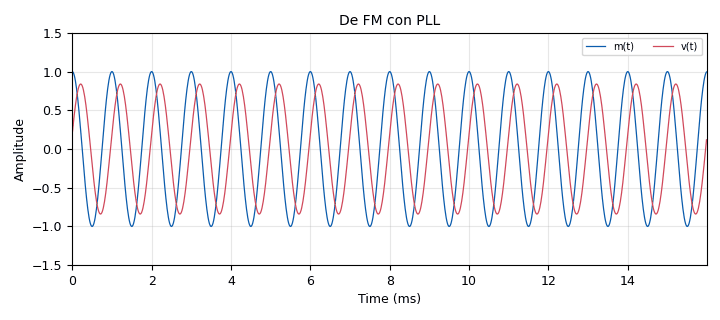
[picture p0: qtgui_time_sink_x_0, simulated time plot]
<?xml version='1.0' encoding='utf-8'?>
<?grc format='1' created='3.7.13'?>
<flow_graph>
<block>
<key>options</key>
<param><key>id</key><value>top_block</value></param>
<param><key>generate_options</key><value>qt_gui</value></param>
<param><key>run</key><value>run_stop</value></param>
</block>
<block>
<key>variable</key>
<param><key>id</key><value>Am</value></param>
<param><key>value</key><value>1.</value></param>
</block>
<block>
<key>variable</key>
<param><key>id</key><value>B</value></param>
<param><key>_enabled</key><value>0</value></param>
<param><key>value</key><value>2*DeltaF+2*fm</value></param>
</block>
<block>
<key>variable</key>
<param><key>id</key><value>BW</value></param>
<param><key>value</key><value>DeltaF+fm</value></param>
</block>
<block>
<key>variable</key>
<param><key>id</key><value>DeltaF</value></param>
<param><key>value</key><value>beta*fm</value></param>
</block>
<block>
<key>variable</key>
<param><key>id</key><value>Kf</value></param>
<param><key>value</key><value>DeltaF/Am</value></param>
</block>
<block>
<key>variable</key>
<param><key>id</key><value>beta</value></param>
<param><key>value</key><value>5.</value></param>
</block>
<block>
<key>variable</key>
<param><key>id</key><value>fm</value></param>
<param><key>value</key><value>1000.</value></param>
</block>
<block>
<key>variable_qtgui_check_box</key>
<param><key>id</key><value>run_stop</value></param>
<param><key>value</key><value>True</value></param>
<param><key>false</key><value>False</value></param>
<param><key>gui_hint</key><value>0,0,1,1</value></param>
<param><key>label</key><value>Inicial/Parar</value></param>
<param><key>true</key><value>True</value></param>
<param><key>type</key><value>int</value></param>
</block>
<block>
<key>variable</key>
<param><key>id</key><value>samp_rate</value></param>
<param><key>value</key><value>64000</value></param>
</block>
<block>
<key>analog_pll_freqdet_cf</key>
<param><key>id</key><value>analog_pll_freqdet_cf_0</value></param>
<param><key>w</key><value>2*math.pi/100.</value></param>
<param><key>max_freq</key><value>BW*math.pi*2</value></param>
<param><key>min_freq</key><value>-BW*math.pi*2</value></param>
</block>
<block>
<key>analog_sig_source_x</key>
<param><key>id</key><value>analog_sig_source_x_0</value></param>
<param><key>amp</key><value>Am</value></param>
<param><key>freq</key><value>fm</value></param>
<param><key>offset</key><value>0</value></param>
<param><key>type</key><value>float</value></param>
<param><key>samp_rate</key><value>samp_rate</value></param>
<param><key>waveform</key><value>analog.GR_COS_WAVE</value></param>
</block>
<block>
<key>b_PSD_c</key>
<param><key>id</key><value>b_PSD_c_0_0</value></param>
<param><key>Fc</key><value>0</value></param>
<param><key>samp_rate_audio</key><value>samp_rate</value></param>
<param><key>gui_hint</key><value>4,0,1,1</value></param>
<param><key>N</key><value>1024</value></param>
<param><key>Ensayos</key><value>1000000</value></param>
<param><key>Titulo</key><value>'beta=5'</value></param>
<param><key>Ymax</key><value>0.0002</value></param>
</block>
<block>
<key>b_discriminador_frec_cf</key>
<param><key>id</key><value>b_discriminador_frec_cf_0</value></param>
<param><key>BW</key><value>BW</value></param>
</block>
<block>
<key>b_discriminador_frec_umd_cf</key>
<param><key>id</key><value>b_discriminador_frec_umd_cf_0</value></param>
</block>
<block>
<key>blocks_multiply_const_vxx</key>
<param><key>id</key><value>blocks_multiply_const_vxx_0</value></param>
<param><key>const</key><value>2</value></param>
<param><key>type</key><value>float</value></param>
</block>
<block>
<key>blocks_multiply_const_vxx</key>
<param><key>id</key><value>blocks_multiply_const_vxx_0_0_0</value></param>
<param><key>const</key><value>Kf</value></param>
<param><key>type</key><value>float</value></param>
</block>
<block>
<key>blocks_multiply_const_vxx</key>
<param><key>id</key><value>blocks_multiply_const_vxx_0_0_0_0</value></param>
<param><key>const</key><value>2</value></param>
<param><key>type</key><value>float</value></param>
</block>
<block>
<key>blocks_vco_c</key>
<param><key>id</key><value>blocks_vco_c_0_0_0</value></param>
<param><key>amplitude</key><value>1</value></param>
<param><key>samp_rate</key><value>samp_rate</value></param>
<param><key>sensitivity</key><value>2*math.pi</value></param>
</block>
<block>
<key>import</key>
<param><key>id</key><value>import_0</value></param>
<param><key>import</key><value>import math</value></param>
</block>
<block>
<key>qtgui_time_sink_x</key>
<param><key>id</key><value>qtgui_time_sink_x_0</value></param>
<param><key>gui_hint</key><value>3,0,1,1</value></param>
<param><key>color1</key><value>"blue"</value></param>
<param><key>label1</key><value>m(t)</value></param>
<param><key>width1</key><value>3</value></param>
<param><key>color2</key><value>"red"</value></param>
<param><key>label2</key><value>v(t)</value></param>
<param><key>width2</key><value>3</value></param>
<param><key>name</key><value>"De FM con PLL"</value></param>
<param><key>nconnections</key><value>2</value></param>
<param><key>size</key><value>1024</value></param>
<param><key>srate</key><value>samp_rate</value></param>
<param><key>type</key><value>float</value></param>
<param><key>ymax</key><value>1.5</value></param>
<param><key>ymin</key><value>-1.5</value></param>
</block>
<block>
<key>qtgui_time_sink_x</key>
<param><key>id</key><value>qtgui_time_sink_x_0_0</value></param>
<param><key>gui_hint</key><value>3,1,1,1</value></param>
<param><key>color1</key><value>"blue"</value></param>
<param><key>label1</key><value>m(t)</value></param>
<param><key>width1</key><value>3</value></param>
<param><key>color2</key><value>"red"</value></param>
<param><key>label2</key><value>v(t)</value></param>
<param><key>width2</key><value>3</value></param>
<param><key>name</key><value>"De FM con circuitos de pendiente"</value></param>
<param><key>nconnections</key><value>2</value></param>
<param><key>size</key><value>1024</value></param>
<param><key>srate</key><value>samp_rate</value></param>
<param><key>type</key><value>float</value></param>
<param><key>ymax</key><value>1.5</value></param>
<param><key>ymin</key><value>-1.5</value></param>
</block>
<block>
<key>qtgui_time_sink_x</key>
<param><key>id</key><value>qtgui_time_sink_x_0_0_0</value></param>
<param><key>gui_hint</key><value>4,1,1,1</value></param>
<param><key>color1</key><value>"blue"</value></param>
<param><key>label1</key><value>m(t)</value></param>
<param><key>width1</key><value>3</value></param>
<param><key>color2</key><value>"red"</value></param>
<param><key>label2</key><value>v(t)</value></param>
<param><key>width2</key><value>3</value></param>
<param><key>name</key><value>"De FM Homodino"</value></param>
<param><key>nconnections</key><value>2</value></param>
<param><key>size</key><value>1024</value></param>
<param><key>srate</key><value>samp_rate</value></param>
<param><key>type</key><value>float</value></param>
<param><key>ymax</key><value>1.5</value></param>
<param><key>ymin</key><value>-1.5</value></param>
</block>
<block>
<key>virtual_sink</key>
<param><key>id</key><value>vs_0_0</value></param>
<param><key>stream_id</key><value>T3</value></param>
</block>
<block>
<key>virtual_sink</key>
<param><key>id</key><value>vs_0_0_0</value></param>
<param><key>stream_id</key><value>T0</value></param>
</block>
<block>
<key>virtual_sink</key>
<param><key>id</key><value>vs_0_0_1</value></param>
<param><key>stream_id</key><value>R0</value></param>
</block>
<block>
<key>virtual_sink</key>
<param><key>id</key><value>vs_0_0_1_0</value></param>
<param><key>stream_id</key><value>R0b</value></param>
</block>
<block>
<key>virtual_sink</key>
<param><key>id</key><value>vs_0_0_1_0_0</value></param>
<param><key>stream_id</key><value>R0c</value></param>
</block>
<block>
<key>virtual_source</key>
<param><key>id</key><value>vso_1</value></param>
<param><key>stream_id</key><value>T3</value></param>
</block>
<block>
<key>virtual_source</key>
<param><key>id</key><value>vso_1_0</value></param>
<param><key>stream_id</key><value>T0</value></param>
</block>
<block>
<key>virtual_source</key>
<param><key>id</key><value>vso_1_0_0</value></param>
<param><key>stream_id</key><value>R0</value></param>
</block>
<block>
<key>virtual_source</key>
<param><key>id</key><value>vso_1_0_0_0</value></param>
<param><key>stream_id</key><value>R0b</value></param>
</block>
<block>
<key>virtual_source</key>
<param><key>id</key><value>vso_1_0_0_0_0</value></param>
<param><key>stream_id</key><value>R0c</value></param>
</block>
<block>
<key>virtual_source</key>
<param><key>id</key><value>vso_1_0_1</value></param>
<param><key>stream_id</key><value>T0</value></param>
</block>
<block>
<key>virtual_source</key>
<param><key>id</key><value>vso_1_0_1_0</value></param>
<param><key>stream_id</key><value>T0</value></param>
</block>
<connection><source_block_id>analog_pll_freqdet_cf_0</source_block_id><sink_block_id>blocks_multiply_const_vxx_0</sink_block_id><source_key>0</source_key><sink_key>0</sink_key></connection>
<connection><source_block_id>analog_sig_source_x_0</source_block_id><sink_block_id>blocks_multiply_const_vxx_0_0_0</sink_block_id><source_key>0</source_key><sink_key>0</sink_key></connection>
<connection><source_block_id>analog_sig_source_x_0</source_block_id><sink_block_id>vs_0_0_0</sink_block_id><source_key>0</source_key><sink_key>0</sink_key></connection>
<connection><source_block_id>b_discriminador_frec_cf_0</source_block_id><sink_block_id>vs_0_0_1_0</sink_block_id><source_key>0</source_key><sink_key>0</sink_key></connection>
<connection><source_block_id>b_discriminador_frec_umd_cf_0</source_block_id><sink_block_id>blocks_multiply_const_vxx_0_0_0_0</sink_block_id><source_key>0</source_key><sink_key>0</sink_key></connection>
<connection><source_block_id>blocks_multiply_const_vxx_0</source_block_id><sink_block_id>vs_0_0_1</sink_block_id><source_key>0</source_key><sink_key>0</sink_key></connection>
<connection><source_block_id>blocks_multiply_const_vxx_0_0_0</source_block_id><sink_block_id>blocks_vco_c_0_0_0</sink_block_id><source_key>0</source_key><sink_key>0</sink_key></connection>
<connection><source_block_id>blocks_multiply_const_vxx_0_0_0_0</source_block_id><sink_block_id>vs_0_0_1_0_0</sink_block_id><source_key>0</source_key><sink_key>0</sink_key></connection>
<connection><source_block_id>blocks_vco_c_0_0_0</source_block_id><sink_block_id>analog_pll_freqdet_cf_0</sink_block_id><source_key>0</source_key><sink_key>0</sink_key></connection>
<connection><source_block_id>blocks_vco_c_0_0_0</source_block_id><sink_block_id>b_discriminador_frec_cf_0</sink_block_id><source_key>0</source_key><sink_key>0</sink_key></connection>
<connection><source_block_id>blocks_vco_c_0_0_0</source_block_id><sink_block_id>b_discriminador_frec_umd_cf_0</sink_block_id><source_key>0</source_key><sink_key>0</sink_key></connection>
<connection><source_block_id>blocks_vco_c_0_0_0</source_block_id><sink_block_id>vs_0_0</sink_block_id><source_key>0</source_key><sink_key>0</sink_key></connection>
<connection><source_block_id>vso_1</source_block_id><sink_block_id>b_PSD_c_0_0</sink_block_id><source_key>0</source_key><sink_key>0</sink_key></connection>
<connection><source_block_id>vso_1_0</source_block_id><sink_block_id>qtgui_time_sink_x_0</sink_block_id><source_key>0</source_key><sink_key>0</sink_key></connection>
<connection><source_block_id>vso_1_0_0</source_block_id><sink_block_id>qtgui_time_sink_x_0</sink_block_id><source_key>0</source_key><sink_key>1</sink_key></connection>
<connection><source_block_id>vso_1_0_0_0</source_block_id><sink_block_id>qtgui_time_sink_x_0_0</sink_block_id><source_key>0</source_key><sink_key>1</sink_key></connection>
<connection><source_block_id>vso_1_0_0_0_0</source_block_id><sink_block_id>qtgui_time_sink_x_0_0_0</sink_block_id><source_key>0</source_key><sink_key>1</sink_key></connection>
<connection><source_block_id>vso_1_0_1</source_block_id><sink_block_id>qtgui_time_sink_x_0_0</sink_block_id><source_key>0</source_key><sink_key>0</sink_key></connection>
<connection><source_block_id>vso_1_0_1_0</source_block_id><sink_block_id>qtgui_time_sink_x_0_0_0</sink_block_id><source_key>0</source_key><sink_key>0</sink_key></connection>
</flow_graph>
